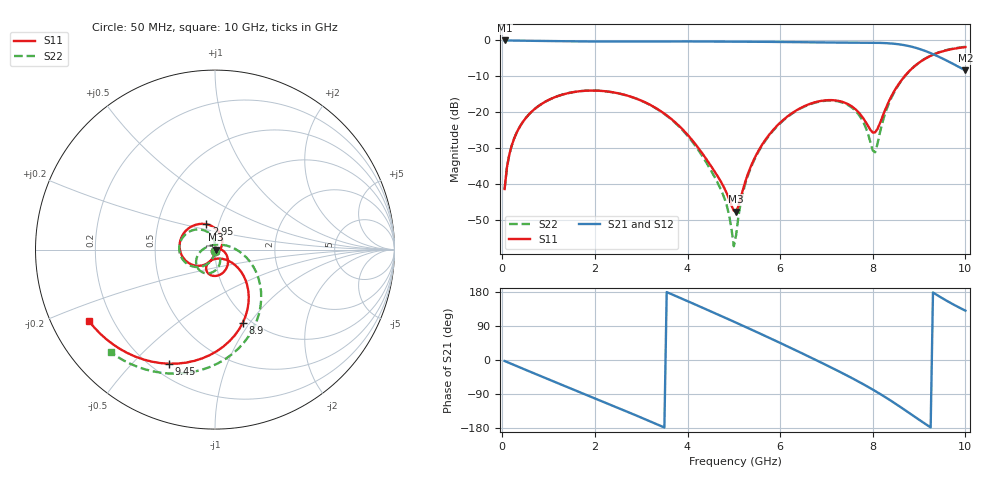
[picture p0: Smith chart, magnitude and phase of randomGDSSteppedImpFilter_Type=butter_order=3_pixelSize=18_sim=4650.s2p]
! freq	dB(S11)	phase(S11)	dB(S12)	phase(S12)
!  dB(S21)	phase(S21)	dB(S22)	phase(S22)
!S-par simulation data
#  GHz  S  DB  R 50
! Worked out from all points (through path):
!   200 points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, 50 MHz to 10 GHz, reference 50 ohm
!   highest |S21| = 0.00 dB at 50 MHz (marker M1); lowest = -8.4 dB at 10 GHz (marker M2)
!   group delay of S21, straight-line fit = 160 ps
!   lowest |S11| = -47.8 dB at 5.05 GHz (marker M3), VSWR 1.01, Z = 50.4 - j0.131 ohm
!   |S11| at or under -10 dB: start of sweep to 8.688 GHz
!   |S22| runs from -57.4 to -1.8 dB; largest |S21 - S12| = 0
!   S11 on the Smith chart (normalised r, x): 50 MHz: 1.00, -0.02; 2.95 GHz: 0.87, +0.25; 8.9 GHz: 0.92, -0.93; 9.45 GHz: 0.27, -0.64; 10 GHz: 0.11, -0.26
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0.05  -41.49 -92.7  -0.00 -2.6  -0.00 -2.6  -41.49 -92.5
0.2  -29.50 -100.9  -0.02 -10.4  -0.02 -10.4  -29.49 -100.0
0.5  -21.78 -117.1  -0.06 -25.7  -0.06 -25.7  -21.78 -114.9
1.15  -15.77 -152.0  -0.18 -58.7  -0.18 -58.7  -15.76 -146.5
1.75  -14.08 176.0  -0.28 -88.7  -0.28 -88.7  -14.09 -174.9
2.35  -14.39 143.4  -0.30 -118.7  -0.30 -118.7  -14.41 157.5
2.95  -16.52 108.9  -0.28 -149.4  -0.28 -149.4  -16.55 130.8
3.4  -19.55 80.6  -0.27 -172.8  -0.27 -172.8  -19.62 112.2
4.35  -32.10 -1.3  -0.29 136.6  -0.29 136.6  -32.91 93.4
4.8  -41.36 -54.7  -0.32 112.2  -0.32 112.2  -44.20 109.2
5  -47.58 -38.4  -0.34 101.2  -0.34 101.2  -57.44 55.4
5.05  -47.77 -18.5  -0.34 98.5  -0.34 98.5  -54.28 -2.8
5.25  -39.34 17.0  -0.35 87.4  -0.35 87.4  -39.87 -37.6
5.55  -30.39 4.3  -0.38 70.7  -0.38 70.7  -30.65 -47.4
6.15  -21.30 -34.5  -0.44 36.4  -0.44 36.4  -21.45 -72.3
6.7  -17.46 -68.7  -0.53 4.3  -0.53 4.3  -17.58 -100.6
7.55  -18.44 -114.3  -0.61 -47.7  -0.61 -47.7  -18.77 -153.7
8.05  -25.66 -73.8  -0.64 -81.6  -0.64 -81.6  -31.22 84.8
8.35  -16.95 -37.6  -0.80 -104.2  -0.80 -104.2  -17.52 -3.6
8.9  -7.21 -69.2  -1.96 -149.3  -1.96 -149.3  -7.23 -55.8
9.45  -3.27 -112.1  -4.70 166.8  -4.70 166.8  -3.21 -99.9
10  -1.86 -150.3  -8.36 130.2  -8.36 130.2  -1.77 -135.5
